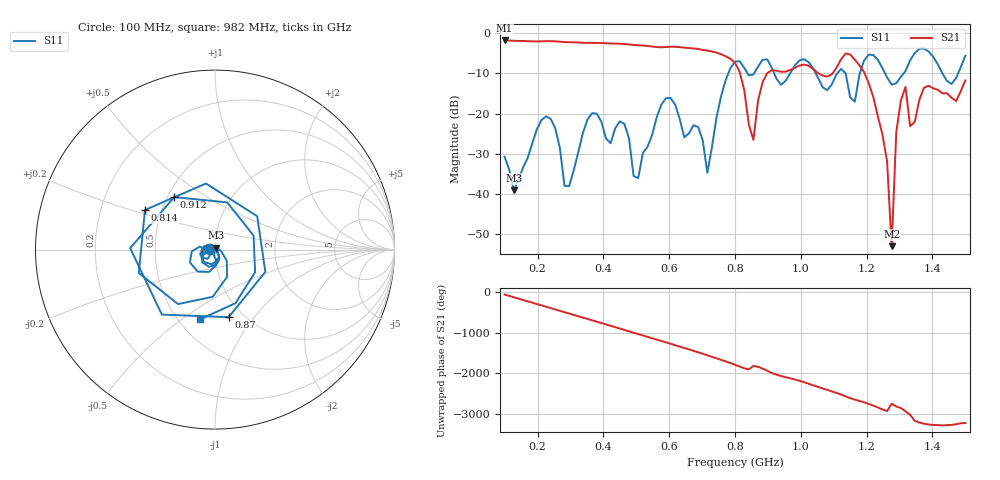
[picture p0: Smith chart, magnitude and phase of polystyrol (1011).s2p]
! NanoVNA-App
! Date: 2025-09-25 15:37:45
! Start: 100MHz Stop: 1,5GHz Points: 101
! S-Parameter data: F S11 S21 S12 S22
# Hz S RI R 50
!  Frequency  S11_Real  S11_Imag  S21_Real  S21_Imag  S12_Real  S12_Imag  S22_Real  S22_Imag
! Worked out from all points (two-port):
!   101 points, 100 MHz to 1.5 GHz, reference 50 ohm
!   highest |S21| = -1.80 dB at 100 MHz (marker M1); lowest = -52.9 dB at 1.276 GHz (marker M2)
!   |S21| within 3 dB of the highest: start of sweep to 743.2 MHz
!   lowest |S11| = -39.0 dB at 128 MHz (marker M3), VSWR 1.02, Z = 50.3 + j1.07 ohm
!   |S11| at or under -10 dB: start of sweep to 779.7 MHz; 1.046 GHz to 1.111 GHz (65.26 MHz wide, 6.05 % of centre); 1.256 GHz to 1.312 GHz (56.07 MHz wide, 4.37 % of centre) (the widest 3 of 7)
!   S12 and S22 are empty: the file has one direction only
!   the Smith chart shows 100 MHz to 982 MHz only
!   S11 on the Smith chart (normalised r, x): 100 MHz: 0.94, -0.01; 814 MHz: 0.40, +0.22; 870 MHz: 0.86, -0.76; 912 MHz: 0.54, +0.37; 982 MHz: 0.63, -0.59
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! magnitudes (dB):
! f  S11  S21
! 100 MHz  -30.7  -1.8
! 128 MHz  -39.0  -1.9
! 212 MHz  -21.6  -2.0
! 282 MHz  -37.9  -2.2
! 338 MHz  -24.8  -2.4
! 464 MHz  -22.6  -2.7
! 506 MHz  -36.0  -3.0
! 576 MHz  -17.8  -3.5
! 716 MHz  -34.7  -4.3
! 800 MHz  -7.0  -7.4
! 814 MHz  -7.0  -9.6
! 856 MHz  -10.3  -26.5
! 870 MHz  -8.3  -16.8
! 912 MHz  -8.6  -9.2
! 982 MHz  -8.0  -8.6
! 1.038 GHz  -8.8  -8.9
! 1.192 GHz  -6.8  -9.6
! 1.262 GHz  -11.0  -31.8
! 1.276 GHz  -12.8  -52.9
! 1.29 GHz  -12.5  -24.6
! 1.318 GHz  -9.4  -13.3
! 1.5 GHz  -5.6  -11.7
